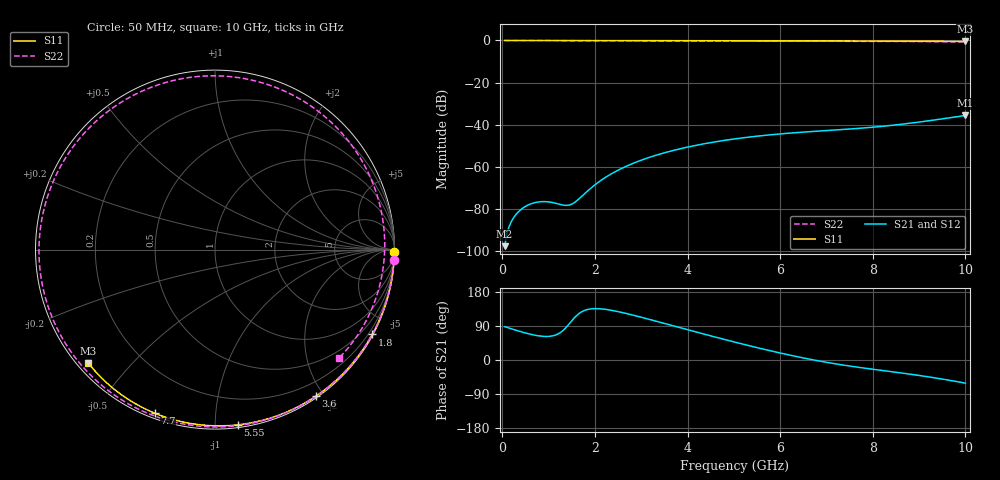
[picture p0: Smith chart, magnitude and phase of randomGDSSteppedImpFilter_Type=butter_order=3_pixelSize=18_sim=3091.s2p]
! freq	dB(S11)	phase(S11)	dB(S12)	phase(S12)
!  dB(S21)	phase(S21)	dB(S22)	phase(S22)
!S-par simulation data
#  GHz  S  DB  R 50
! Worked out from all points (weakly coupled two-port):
!   200 points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, 50 MHz to 10 GHz, reference 50 ohm
!   highest |S21| = -35.56 dB at 10 GHz (marker M1); lowest = -97.5 dB at 50 MHz (marker M2)
!   lowest |S11| = -0.5 dB at 10 GHz (marker M3), VSWR 37.03, Z = 1.55 - j19.1 ohm
!   |S11| at or under -10 dB: nowhere
!   |S22| runs from -0.7 to 0.0 dB; largest |S21 - S12| = 0
!   S11 on the Smith chart (normalised r, x): 50 MHz: open; 1.8 GHz: 0.03, -3.96; 3.6 GHz: 0.02, -1.91; 5.55 GHz: 0.02, -1.14; 7.7 GHz: 0.02, -0.70; 10 GHz: 0.03, -0.38
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0.05  -0.00 -0.8  -97.53 88.0  -97.53 88.0  -0.00 -3.2
0.45  -0.01 -7.2  -79.36 73.0  -79.36 73.0  -0.04 -28.6
0.7  -0.01 -11.1  -76.91 65.5  -76.91 65.5  -0.06 -44.0
0.95  -0.02 -15.1  -76.44 62.1  -76.44 62.1  -0.07 -58.9
1.45  -0.03 -22.9  -78.01 96.1  -78.01 96.1  -0.10 -86.4
1.75  -0.04 -27.6  -73.22 129.4  -73.22 129.4  -0.11 -101.6
1.8  -0.04 -28.3  -72.20 131.8  -72.20 131.8  -0.11 -104.0
2.15  -0.04 -33.7  -66.04 134.8  -66.04 134.8  -0.13 -120.3
2.6  -0.05 -40.5  -60.42 124.9  -60.42 124.9  -0.14 -139.7
3  -0.06 -46.5  -56.77 112.9  -56.77 112.9  -0.15 -155.6
3.4  -0.07 -52.4  -53.89 99.9  -53.89 99.9  -0.16 -170.7
3.6  -0.07 -55.3  -52.67 93.3  -52.67 93.3  -0.17 -178.0
4.3  -0.09 -65.4  -49.22 70.2  -49.22 70.2  -0.19 157.4
5.05  -0.12 -75.8  -46.58 46.3  -46.58 46.3  -0.22 131.6
5.55  -0.14 -82.6  -45.26 31.2  -45.26 31.2  -0.25 114.5
6.15  -0.16 -90.5  -44.03 14.4  -44.03 14.4  -0.28 93.7
6.7  -0.19 -97.6  -43.15 0.6  -43.15 0.6  -0.30 74.4
7.2  -0.22 -104.0  -42.43 -10.2  -42.43 -10.2  -0.33 56.7
7.7  -0.25 -110.2  -41.67 -19.5  -41.67 -19.5  -0.37 38.9
8.35  -0.30 -118.2  -40.39 -30.0  -40.39 -30.0  -0.43 15.8
9.15  -0.38 -127.9  -38.25 -43.4  -38.25 -43.4  -0.55 -12.3
10  -0.47 -138.1  -35.56 -61.1  -35.56 -61.1  -0.74 -41.4
